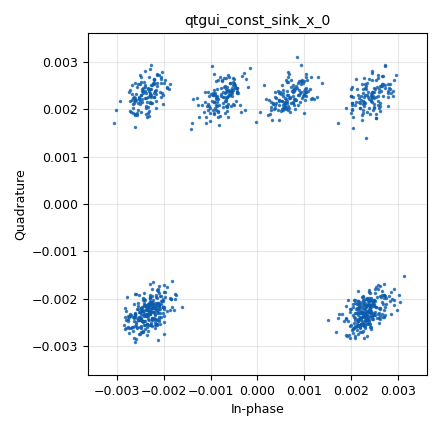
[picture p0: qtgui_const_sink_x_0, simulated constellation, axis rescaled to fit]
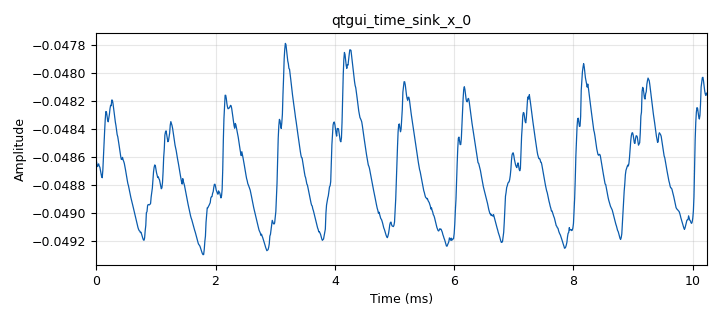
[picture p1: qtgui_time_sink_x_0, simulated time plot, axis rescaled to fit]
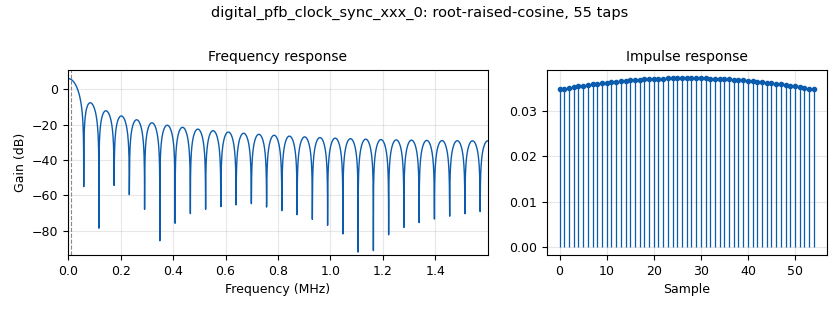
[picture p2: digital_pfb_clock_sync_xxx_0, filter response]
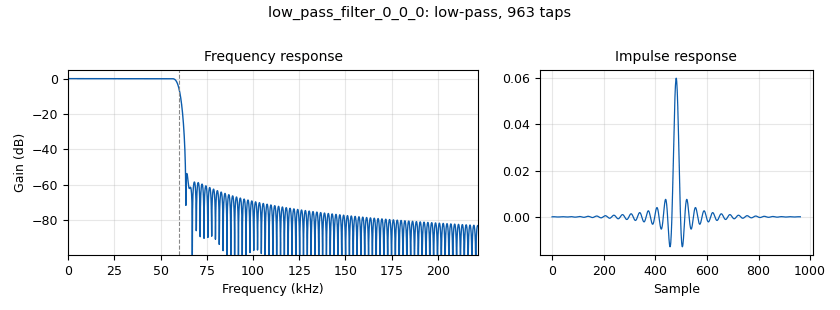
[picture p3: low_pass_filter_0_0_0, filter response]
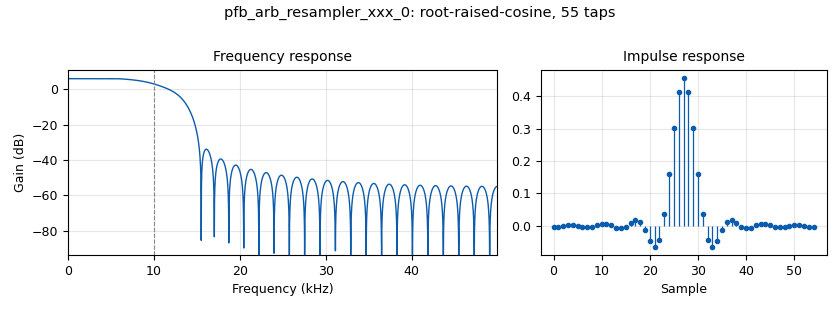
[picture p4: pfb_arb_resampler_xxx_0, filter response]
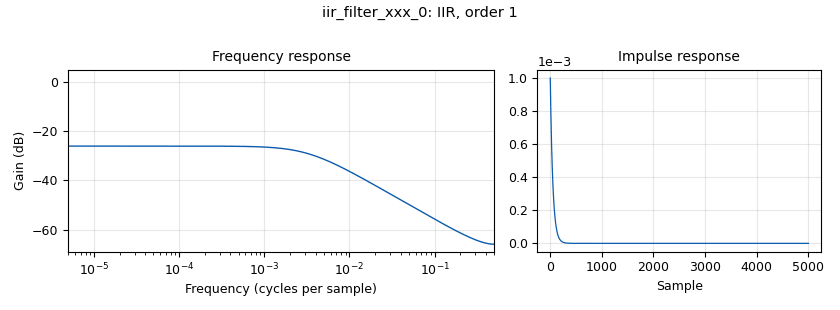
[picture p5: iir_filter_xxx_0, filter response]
options:
  parameters:
    author: rohan
    generate_options: qt_gui
    id: part4_2
    output_language: python
    title: Not titled yet
  states: {}

blocks:
- name: b1
  id: variable_qtgui_range
  parameters:
    start: '-1'
    step: '1e-3'
    stop: '0'
    value: '-0.5'
  states: {}
- name: b2
  id: variable_qtgui_range
  parameters:
    start: '0'
    step: '1e-3'
    stop: '1'
    value: '0.25'
  states: {}
- name: b3
  id: variable_qtgui_range
  parameters:
    start: '-1'
    step: '1e-4'
    stop: '0'
    value: '-0.125'
  states: {}
- name: b4
  id: variable_qtgui_range
  parameters:
    start: '0'
    step: '1e-4'
    stop: '1'
    value: '0.0625'
  states: {}
- name: excess_bw
  id: variable
  parameters:
    value: '0.5'
  states: {}
- name: gain
  id: variable
  parameters:
    value: '2'
  states: {}
- name: nfilts
  id: variable
  parameters:
    value: '32'
  states: {}
- name: ntaps
  id: variable
  parameters:
    value: 11*sps
  states: {}
- name: samp_rate
  id: variable
  parameters:
    value: symb_rate*sps
  states: {}
- name: sps
  id: variable
  parameters:
    value: '5'
  states: {}
- name: symb_rate
  id: variable
  parameters:
    value: 20e3
  states: {}
- name: analog_noise_source_x_0
  id: analog_noise_source_x
  parameters:
    amp: '0.05'
    noise_type: analog.GR_GAUSSIAN
    seed: '0'
    type: float
  states: {}
- name: analog_random_source_x_0
  id: analog_random_source_x
  parameters:
    max: '2'
    min: '0'
    num_samps: '1000'
    repeat: 'True'
    type: byte
  states: {}
- name: analog_sig_source_x_0
  id: analog_sig_source_x
  parameters:
    amp: '1'
    freq: 100e3
    offset: '0'
    phase: '0'
    samp_rate: 2e6
    type: float
    waveform: analog.GR_COS_WAVE
  states: {}
- name: analog_sig_source_x_0_0
  id: analog_sig_source_x
  parameters:
    amp: '1'
    freq: 100e3
    offset: '0'
    phase: '0'
    samp_rate: 2e6
    type: float
    waveform: analog.GR_COS_WAVE
  states: {}
- name: analog_sig_source_x_0_0_0
  id: analog_sig_source_x
  parameters:
    amp: '1'
    freq: 100e3
    offset: '0'
    phase: '90'
    samp_rate: 2e6
    type: float
    waveform: analog.GR_COS_WAVE
  states: {}
- name: analog_sig_source_x_0_1
  id: analog_sig_source_x
  parameters:
    amp: '1'
    freq: 100e3
    offset: '0'
    phase: '90'
    samp_rate: 2e6
    type: float
    waveform: analog.GR_COS_WAVE
  states: {}
- name: blocks_abs_xx_0
  id: blocks_abs_xx
  parameters:
    type: float
  states: {}
- name: blocks_add_const_vxx_0
  id: blocks_add_const_vxx
  parameters:
    const: '-1'
    type: float
  states: {}
- name: blocks_add_xx_0
  id: blocks_add_xx
  parameters:
    type: float
  states: {}
- name: blocks_add_xx_0_0
  id: blocks_add_xx
  parameters:
    type: float
  states: {}
- name: blocks_add_xx_1
  id: blocks_add_xx
  parameters:
    type: float
  states: {}
- name: blocks_add_xx_1_0
  id: blocks_add_xx
  parameters:
    num_inputs: '5'
    type: float
  states: {}
- name: blocks_add_xx_1_0_0
  id: blocks_add_xx
  parameters:
    num_inputs: '5'
    type: float
  states: {}
- name: blocks_add_xx_1_1
  id: blocks_add_xx
  parameters:
    type: float
  states: {}
- name: blocks_complex_to_float_1
  id: blocks_complex_to_float
  parameters: {}
  states: {}
- name: blocks_delay_0
  id: blocks_delay
  parameters:
    delay: '1'
    type: float
  states: {}
- name: blocks_delay_0_0_0_0_0
  id: blocks_delay
  parameters:
    delay: '4'
    type: float
  states: {}
- name: blocks_delay_0_0_0_0_0_0
  id: blocks_delay
  parameters:
    delay: '4'
    type: float
  states: {}
- name: blocks_delay_0_0_0_1
  id: blocks_delay
  parameters:
    delay: '3'
    type: float
  states: {}
- name: blocks_delay_0_0_0_1_0
  id: blocks_delay
  parameters:
    delay: '3'
    type: float
  states: {}
- name: blocks_delay_0_0_1_0
  id: blocks_delay
  parameters:
    delay: '2'
    type: float
  states: {}
- name: blocks_delay_0_0_1_0_0
  id: blocks_delay
  parameters:
    delay: '2'
    type: float
  states: {}
- name: blocks_delay_0_0_2
  id: blocks_delay
  parameters:
    delay: '1'
    type: float
  states: {}
- name: blocks_delay_0_0_2_0
  id: blocks_delay
  parameters:
    delay: '1'
    type: float
  states: {}
- name: blocks_delay_0_1
  id: blocks_delay
  parameters:
    delay: '1'
    type: float
  states: {}
- name: blocks_float_to_complex_0
  id: blocks_float_to_complex
  parameters: {}
  states: {}
- name: blocks_multiply_const_vxx_0
  id: blocks_multiply_const_vxx
  parameters:
    const: '0.5'
    type: float
  states: {}
- name: blocks_multiply_const_vxx_0_0_0_0
  id: blocks_multiply_const_vxx
  parameters:
    const: b2
    type: float
  states: {}
- name: blocks_multiply_const_vxx_0_0_0_0_0
  id: blocks_multiply_const_vxx
  parameters:
    const: b2
    type: float
  states: {}
- name: blocks_multiply_const_vxx_0_0_1_0
  id: blocks_multiply_const_vxx
  parameters:
    const: b3
    type: float
  states: {}
- name: blocks_multiply_const_vxx_0_0_1_0_0
  id: blocks_multiply_const_vxx
  parameters:
    const: b3
    type: float
  states: {}
- name: blocks_multiply_const_vxx_0_0_2_0
  id: blocks_multiply_const_vxx
  parameters:
    const: b4
    type: float
  states: {}
- name: blocks_multiply_const_vxx_0_0_2_0_0
  id: blocks_multiply_const_vxx
  parameters:
    const: b4
    type: float
  states: {}
- name: blocks_multiply_const_vxx_0_0_3
  id: blocks_multiply_const_vxx
  parameters:
    const: b1
    type: float
  states: {}
- name: blocks_multiply_const_vxx_0_0_3_0
  id: blocks_multiply_const_vxx
  parameters:
    const: b1
    type: float
  states: {}
- name: blocks_multiply_const_vxx_0_1
  id: blocks_multiply_const_vxx
  parameters:
    const: '0.5'
    type: float
  states: {}
- name: blocks_multiply_xx_0
  id: blocks_multiply_xx
  parameters:
    type: float
  states: {}
- name: blocks_multiply_xx_0_0
  id: blocks_multiply_xx
  parameters:
    type: float
  states: {}
- name: blocks_multiply_xx_1
  id: blocks_multiply_xx
  parameters:
    type: float
  states: {}
- name: blocks_multiply_xx_1_0
  id: blocks_multiply_xx
  parameters:
    type: float
  states: {}
- name: blocks_multiply_xx_2
  id: blocks_multiply_xx
  parameters:
    type: float
  states: {}
- name: blocks_sub_xx_0
  id: blocks_sub_xx
  parameters:
    type: float
  states: {}
- name: digital_chunks_to_symbols_xx_0
  id: digital_chunks_to_symbols_xx
  parameters:
    dimension: '2'
    in_type: byte
    out_type: complex
    symbol_table: '[-1 + 1j,1 - 1j, 1 +1j, -1 -1j]'
  states: {}
- name: digital_pfb_clock_sync_xxx_0
  id: digital_pfb_clock_sync_xxx
  parameters:
    filter_size: nfilts
    init_phase: '16'
    loop_bw: (2*3.1415)/100
    max_dev: '1.5'
    osps: '1'
    sps: sps
    taps: firdes.root_raised_cosine(gain,nfilts*sps*symb_rate,symb_rate,excess_bw,ntaps)
    type: ccf
  states: {}
- name: iir_filter_xxx_0
  id: iir_filter_xxx
  parameters:
    fbtaps: '[1, 0.98]'
    fftaps: '[0.001]'
    type: ffd
  states: {}
- name: low_pass_filter_0_0_0
  id: low_pass_filter
  parameters:
    cutoff_freq: 60e3
    gain: '1'
    interp: '1'
    samp_rate: 2e6
    type: interp_fir_filter_fff
    width: '5000'
    win: window.WIN_HAMMING
  states: {}
- name: low_pass_filter_0_1
  id: low_pass_filter
  parameters:
    cutoff_freq: 60e3
    gain: '1'
    interp: '1'
    samp_rate: 2e6
    type: interp_fir_filter_fff
    width: '5000'
    win: window.WIN_HAMMING
  states: {}
- name: pfb_arb_resampler_xxx_0
  id: pfb_arb_resampler_xxx
  parameters:
    atten: '100'
    nfilts: '32'
    rrate: sps
    taps: firdes.root_raised_cosine(gain,sps*symb_rate,symb_rate,excess_bw,ntaps)
    type: ccf
  states: {}
- name: qtgui_const_sink_x_0
  id: qtgui_const_sink_x
  parameters:
    size: '1024'
    type: complex
  states: {}
- name: qtgui_time_sink_x_0
  id: qtgui_time_sink_x
  parameters:
    size: '1024'
    srate: samp_rate
    type: float
  states: {}
- name: rational_resampler_xxx_0
  id: rational_resampler_xxx
  parameters:
    decim: '1'
    interp: '20'
    type: ccc
  states: {}
- name: rational_resampler_xxx_1
  id: rational_resampler_xxx
  parameters:
    decim: '20'
    interp: '1'
    type: ccf
  states: {}

connections:
- [analog_noise_source_x_0, '0', blocks_add_xx_1, '0']
- [analog_noise_source_x_0, '0', blocks_add_xx_1_1, '0']
- [analog_random_source_x_0, '0', digital_chunks_to_symbols_xx_0, '0']
- [analog_sig_source_x_0, '0', blocks_multiply_xx_0, '1']
- [analog_sig_source_x_0_0, '0', blocks_multiply_xx_1, '1']
- [analog_sig_source_x_0_0_0, '0', blocks_multiply_xx_1_0, '0']
- [analog_sig_source_x_0_1, '0', blocks_multiply_xx_0_0, '1']
- [blocks_abs_xx_0, '0', blocks_multiply_xx_2, '0']
- [blocks_abs_xx_0, '0', blocks_multiply_xx_2, '1']
- [blocks_add_const_vxx_0, '0', iir_filter_xxx_0, '0']
- [blocks_add_xx_0, '0', blocks_multiply_xx_1, '0']
- [blocks_add_xx_0_0, '0', blocks_multiply_xx_1_0, '1']
- [blocks_add_xx_1, '0', blocks_multiply_xx_0_0, '0']
- [blocks_add_xx_1_0, '0', blocks_float_to_complex_0, '1']
- [blocks_add_xx_1_0_0, '0', blocks_float_to_complex_0, '0']
- [blocks_add_xx_1_0_0, '0', blocks_sub_xx_0, '1']
- [blocks_add_xx_1_1, '0', blocks_multiply_xx_0, '0']
- [blocks_complex_to_float_1, '0', blocks_add_xx_1_1, '1']
- [blocks_complex_to_float_1, '1', blocks_add_xx_1, '1']
- [blocks_delay_0, '0', blocks_multiply_const_vxx_0, '0']
- [blocks_delay_0_0_0_0_0, '0', blocks_multiply_const_vxx_0_0_2_0, '0']
- [blocks_delay_0_0_0_0_0_0, '0', blocks_multiply_const_vxx_0_0_2_0_0, '0']
- [blocks_delay_0_0_0_1, '0', blocks_multiply_const_vxx_0_0_1_0, '0']
- [blocks_delay_0_0_0_1_0, '0', blocks_multiply_const_vxx_0_0_1_0_0, '0']
- [blocks_delay_0_0_1_0, '0', blocks_multiply_const_vxx_0_0_0_0, '0']
- [blocks_delay_0_0_1_0_0, '0', blocks_multiply_const_vxx_0_0_0_0_0, '0']
- [blocks_delay_0_0_2, '0', blocks_multiply_const_vxx_0_0_3, '0']
- [blocks_delay_0_0_2_0, '0', blocks_multiply_const_vxx_0_0_3_0, '0']
- [blocks_delay_0_1, '0', blocks_multiply_const_vxx_0_1, '0']
- [blocks_float_to_complex_0, '0', rational_resampler_xxx_1, '0']
- [blocks_multiply_const_vxx_0, '0', blocks_add_xx_0, '1']
- [blocks_multiply_const_vxx_0_0_0_0, '0', blocks_add_xx_1_0, '2']
- [blocks_multiply_const_vxx_0_0_0_0_0, '0', blocks_add_xx_1_0_0, '2']
- [blocks_multiply_const_vxx_0_0_1_0, '0', blocks_add_xx_1_0, '3']
- [blocks_multiply_const_vxx_0_0_1_0_0, '0', blocks_add_xx_1_0_0, '3']
- [blocks_multiply_const_vxx_0_0_2_0, '0', blocks_add_xx_1_0, '4']
- [blocks_multiply_const_vxx_0_0_2_0_0, '0', blocks_add_xx_1_0_0, '4']
- [blocks_multiply_const_vxx_0_0_3, '0', blocks_add_xx_1_0, '1']
- [blocks_multiply_const_vxx_0_0_3_0, '0', blocks_add_xx_1_0_0, '1']
- [blocks_multiply_const_vxx_0_1, '0', blocks_add_xx_0_0, '1']
- [blocks_multiply_xx_0, '0', blocks_add_xx_0, '0']
- [blocks_multiply_xx_0, '0', blocks_delay_0, '0']
- [blocks_multiply_xx_0, '0', blocks_sub_xx_0, '0']
- [blocks_multiply_xx_0_0, '0', blocks_add_xx_0_0, '0']
- [blocks_multiply_xx_0_0, '0', blocks_delay_0_1, '0']
- [blocks_multiply_xx_1, '0', low_pass_filter_0_1, '0']
- [blocks_multiply_xx_1_0, '0', low_pass_filter_0_0_0, '0']
- [blocks_multiply_xx_2, '0', blocks_add_const_vxx_0, '0']
- [blocks_sub_xx_0, '0', blocks_abs_xx_0, '0']
- [digital_chunks_to_symbols_xx_0, '0', pfb_arb_resampler_xxx_0, '0']
- [digital_pfb_clock_sync_xxx_0, '0', qtgui_const_sink_x_0, '0']
- [iir_filter_xxx_0, '0', qtgui_time_sink_x_0, '0']
- [low_pass_filter_0_0_0, '0', blocks_add_xx_1_0, '0']
- [low_pass_filter_0_0_0, '0', blocks_delay_0_0_0_0_0, '0']
- [low_pass_filter_0_0_0, '0', blocks_delay_0_0_0_1, '0']
- [low_pass_filter_0_0_0, '0', blocks_delay_0_0_1_0, '0']
- [low_pass_filter_0_0_0, '0', blocks_delay_0_0_2, '0']
- [low_pass_filter_0_1, '0', blocks_add_xx_1_0_0, '0']
- [low_pass_filter_0_1, '0', blocks_delay_0_0_0_0_0_0, '0']
- [low_pass_filter_0_1, '0', blocks_delay_0_0_0_1_0, '0']
- [low_pass_filter_0_1, '0', blocks_delay_0_0_1_0_0, '0']
- [low_pass_filter_0_1, '0', blocks_delay_0_0_2_0, '0']
- [pfb_arb_resampler_xxx_0, '0', rational_resampler_xxx_0, '0']
- [rational_resampler_xxx_0, '0', blocks_complex_to_float_1, '0']
- [rational_resampler_xxx_1, '0', digital_pfb_clock_sync_xxx_0, '0']

metadata:
  file_format: 1
